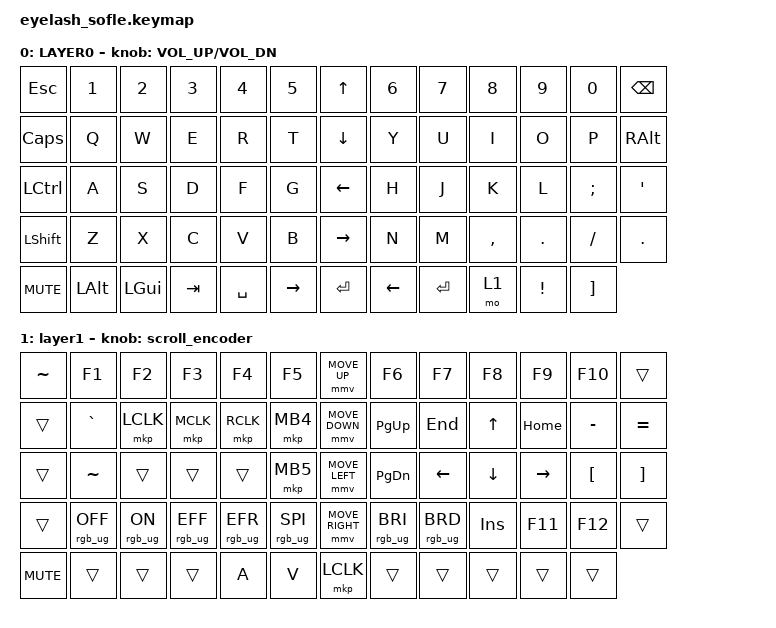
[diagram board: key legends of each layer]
#define ZMK_POINTING_DEFAULT_MOVE_VAL 1200  // 600
#define ZMK_POINTING_DEFAULT_SCRL_VAL 25   // 10

#include <input/processors.dtsi>
#include <zephyr/dt-bindings/input/input-event-codes.h>
#include <behaviors.dtsi>
#include <dt-bindings/zmk/keys.h>
#include <dt-bindings/zmk/pointing.h>
#include <dt-bindings/zmk/rgb.h>

&mmv_input_listener { input-processors = <&zip_xy_scaler 2 1>; };

&msc_input_listener { input-processors = <&zip_scroll_scaler 2 1>; };

&msc {
    acceleration-exponent = <1>;      // 0
    time-to-max-speed-ms = <100>;       // 300
    delay-ms = <0>;                   // 0
};

&mmv {
    time-to-max-speed-ms = <500>;
    acceleration-exponent = <1>;
    trigger-period-ms = <16>;
};

/ {
    scroll_encoder: scroll_encoder {
        compatible = "zmk,behavior-sensor-rotate";
        #sensor-binding-cells = <0>;
        bindings = <&msc SCRL_DOWN>, <&msc SCRL_UP>;

        tap-ms = <100>;
    };

    behaviors {
    };

    combos { compatible = "zmk,combos"; };

    keymap {
        compatible = "zmk,keymap";

        layer0 {
            bindings = <
&kp ESC         &kp N1        &kp N2        &kp N3   &kp N4     &kp N5       &kp UP_ARROW     &kp N6    &kp N7     &kp N8     &kp N9    &kp N0    &kp BACKSPACE
&kp CAPS        &kp Q         &kp W         &kp E    &kp R      &kp T        &kp DOWN_ARROW   &kp Y     &kp U      &kp I      &kp O     &kp P     &kp RIGHT_ALT
&kp LCTRL       &kp A         &kp S         &kp D    &kp F      &kp G        &kp LEFT_ARROW   &kp H     &kp J      &kp K      &kp L     &kp SEMI  &kp SQT
&kp LEFT_SHIFT  &kp Z         &kp X         &kp C    &kp V      &kp B        &kp RIGHT_ARROW  &kp N     &kp M      &kp COMMA  &kp DOT   &kp FSLH  &kp DOT
&kp C_MUTE      &kp LEFT_ALT  &kp LEFT_GUI  &kp TAB  &kp SPACE  &kp RIGHT    &kp ENTER        &kp LEFT  &kp ENTER  &mo 1      &kp EXCL  &kp RBKT
            >;

            sensor-bindings = <&inc_dec_kp C_VOLUME_UP C_VOL_DN>;
            display-name = "LAYER0";
        };

        layer_1 {
            bindings = <
&kp TILDE   &kp F1           &kp F2          &kp F3           &kp F4           &kp F5             &mmv MOVE_UP     &kp F6           &kp F7           &kp F8      &kp F9     &kp F10           &trans
&trans      &kp GRAVE        &mkp LCLK       &mkp MCLK        &mkp RCLK        &mkp MB4           &mmv MOVE_DOWN   &kp PG_UP        &kp END          &kp UP      &kp HOME   &kp MINUS         &kp EQUAL
&trans      &kp TILDE        &trans          &trans           &trans           &mkp MB5           &mmv MOVE_LEFT   &kp PG_DN        &kp LEFT         &kp DOWN    &kp RIGHT  &kp LEFT_BRACKET  &kp RIGHT_BRACKET
&trans      &rgb_ug RGB_OFF  &rgb_ug RGB_ON  &rgb_ug RGB_EFF  &rgb_ug RGB_EFR  &rgb_ug RGB_SPI    &mmv MOVE_RIGHT  &rgb_ug RGB_BRI  &rgb_ug RGB_BRD  &kp INSERT  &kp F11    &kp F12           &trans
&kp C_MUTE  &trans           &trans          &trans           &kp A            &kp V              &mkp LCLK        &trans           &trans           &trans      &trans     &trans
            >;

            display-name = "layer1";
            sensor-bindings = <&scroll_encoder>;
        };
    };
};
